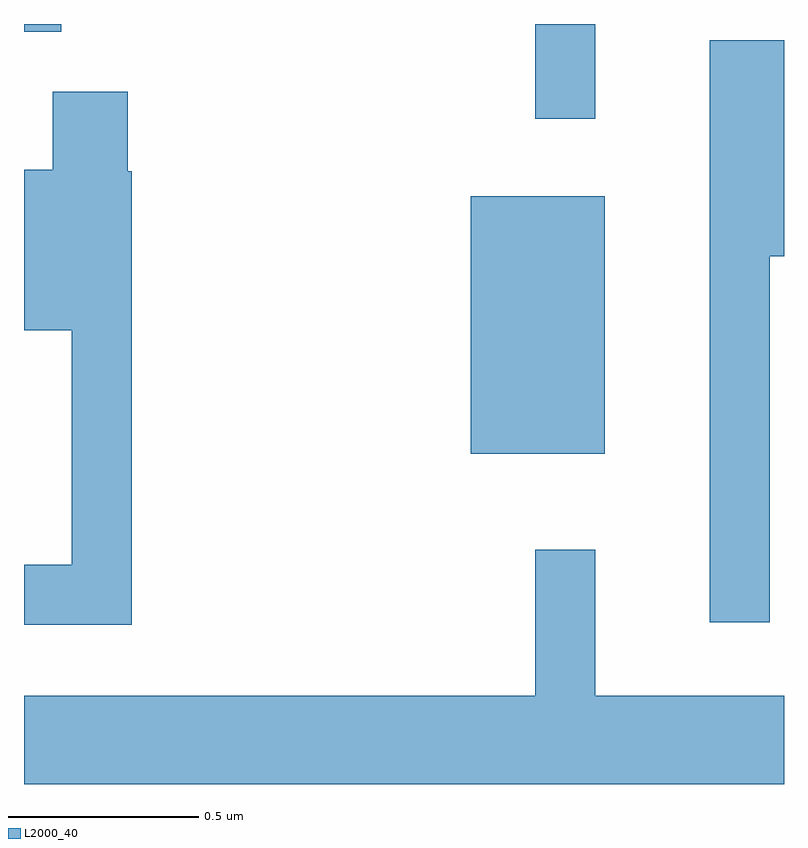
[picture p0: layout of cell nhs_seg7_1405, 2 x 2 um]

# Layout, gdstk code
import gdstk
lib = gdstk.Library(unit=1e-6, precision=1e-09)
def R(c, l, rs):  # rectangles x0, y0, x1, y1
    for r in rs: c.add(gdstk.rectangle(r[:2], r[2:], *l))
def P(c, l, *ps):  # polygons
    for p in ps: c.add(gdstk.Polygon(p, *l))
L2000_40 = (2000, 40)

nhs_seg7_1405 = lib.new_cell('nhs_seg7_1405')
R(nhs_seg7_1405, L2000_40, [(196.786,1704.121,197.139,1704.799), (196.956,1705.003,197.114,1705.252), (195.611,1705.231,195.709,1705.252)])
P(nhs_seg7_1405, L2000_40, [(197.574,1704.641),(197.611,1704.641),(197.611,1705.209),(197.416,1705.209),(197.416,1703.678),(197.574,1703.678)],
  [(195.894,1704.865),(195.884,1704.865),(195.884,1705.074),(195.686,1705.074),(195.686,1704.869),(195.611,1704.869),(195.611,1704.446),(195.736,1704.446),(195.736,1703.829),(195.611,1703.829),(195.611,1703.671),(195.894,1703.671)],
  [(197.611,1703.484),(197.114,1703.484),(197.114,1703.868),(196.956,1703.868),(196.956,1703.484),(195.611,1703.484),(195.611,1703.252),(197.611,1703.252)])

lib.write_gds('nhs_seg7_1405.gds')
